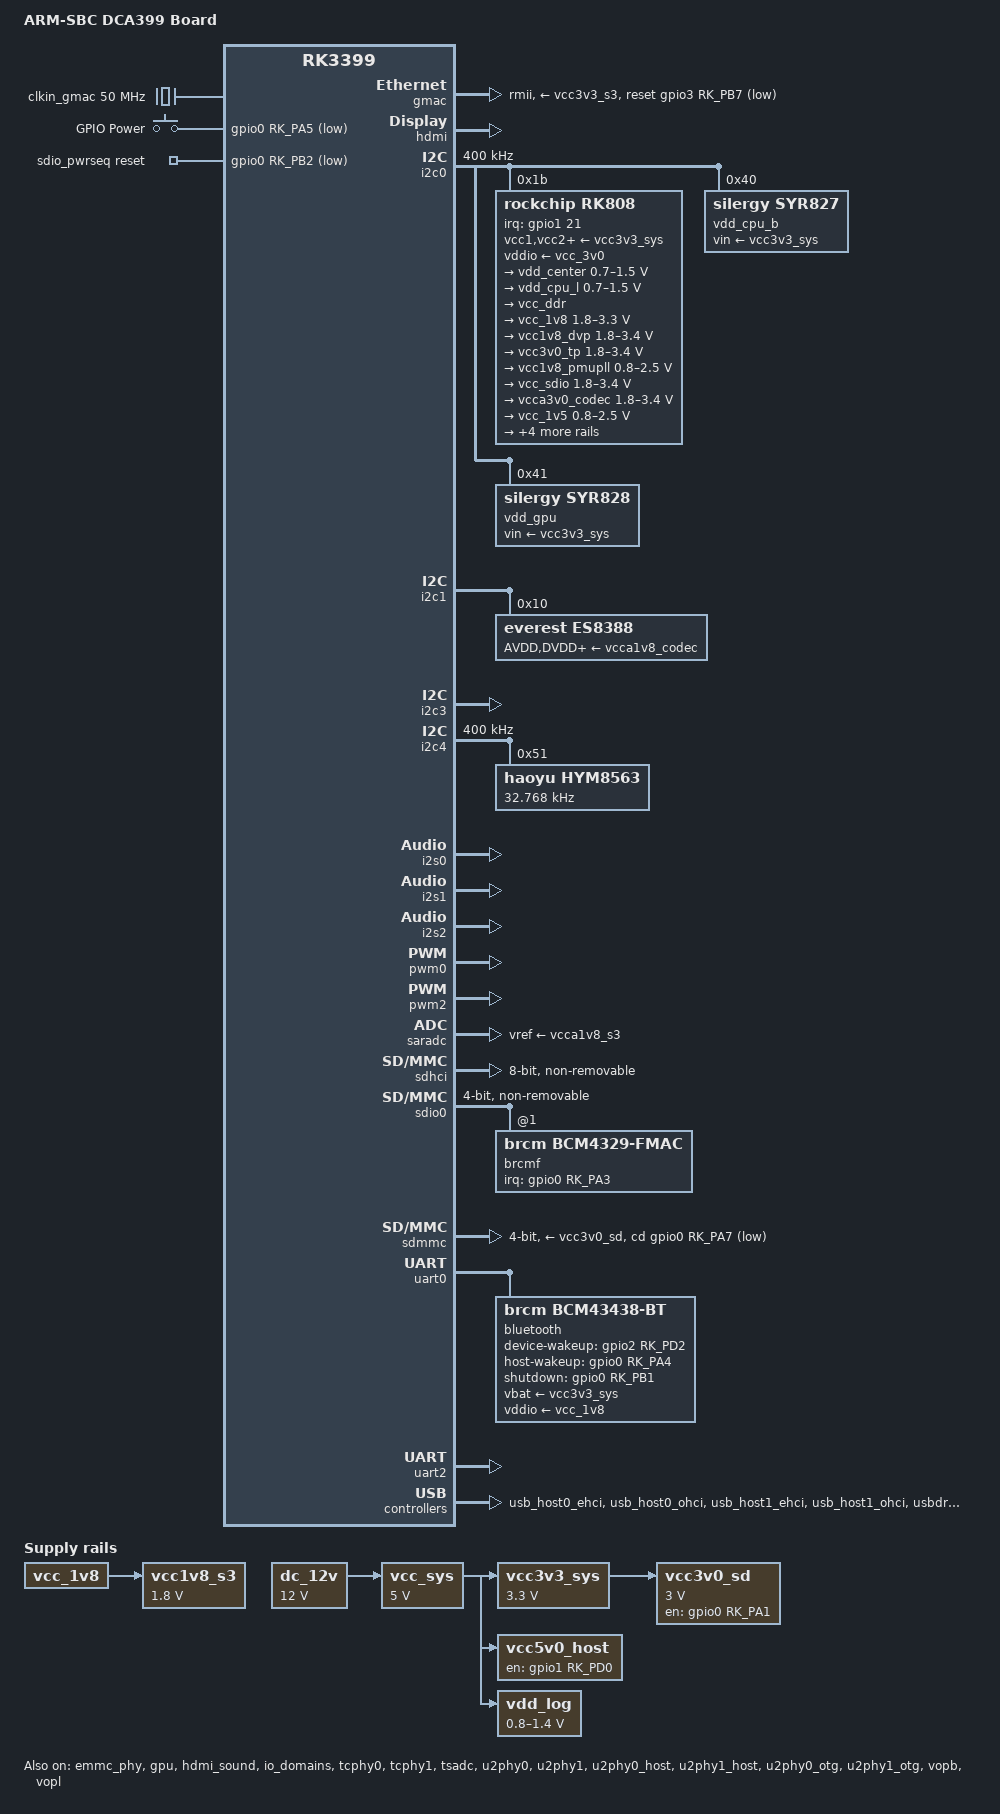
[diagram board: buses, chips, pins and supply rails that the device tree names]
// SPDX-License-Identifier: (GPL-2.0+ OR MIT)
/*
 */

/dts-v1/;

#include "dt-bindings/pwm/pwm.h"
#include "dt-bindings/input/input.h"
#include <dt-bindings/interrupt-controller/irq.h>
#include "dt-bindings/usb/pd.h"
#include "rk3399.dtsi"

/ {
	model = "ARM-SBC DCA399 Board";
	compatible = "rockchip,rk3399-arm-sbc", "rockchip,rk3399";

	aliases {
		ethernet0 = &gmac;
		mmc0 = &sdio0;
		mmc1 = &sdmmc;
		mmc2 = &sdhci;
	};

	chosen {
		stdout-path = "serial2:1500000n8";
	};

	clkin_gmac: external-gmac-clock {
		compatible = "fixed-clock";
		clock-frequency = <50000000>;
		clock-output-names = "clkin_gmac";
		#clock-cells = <0>;
	};

	dc_12v: dc-12v {
		compatible = "regulator-fixed";
		regulator-name = "dc_12v";
		regulator-always-on;
		regulator-boot-on;
		regulator-min-microvolt = <12000000>;
		regulator-max-microvolt = <12000000>;
	};

	keys: gpio-keys {
		compatible = "gpio-keys";
		autorepeat;

		key-power {
			debounce-interval = <100>;
			gpios = <&gpio0 RK_PA5 GPIO_ACTIVE_LOW>;
			label = "GPIO Power";
			linux,code = <KEY_POWER>;
			linux,input-type = <1>;
			pinctrl-names = "default";
			pinctrl-0 = <&pwr_btn>;
			wakeup-source;
		};
	};

	es8388-sound {
		compatible = "simple-audio-card";
		pinctrl-names = "default";
		simple-audio-card,name = "rockchip,es8388-codec";
		simple-audio-card,format = "i2s";
		simple-audio-card,mclk-fs = <256>;

		simple-audio-card,widgets =
			"Microphone", "Mic Jack",
			"Speaker", "Speaker";
		simple-audio-card,routing =
			"LINPUT1", "Mic Jack",
			"Speaker INL", "LOUT2",
			"Speaker INR", "ROUT2",
			"Speaker", "Speaker OUTL",
			"Speaker", "Speaker OUTR";

		simple-audio-card,cpu {
			sound-dai = <&i2s1>;
		};

		simple-audio-card,codec {
			sound-dai = <&es8388>;
		};
	};

	sdio_pwrseq: sdio-pwrseq {
		compatible = "mmc-pwrseq-simple";
		clocks = <&rk808 1>;
		clock-names = "ext_clock";
		pinctrl-names = "default";
		pinctrl-0 = <&wifi_reg_on_h>;
		reset-gpios = <&gpio0 RK_PB2 GPIO_ACTIVE_LOW>;
	};

	/* switched by pmic_sleep */
	vcc1v8_s3: vcca1v8_s3: vcc1v8-s3 {
		compatible = "regulator-fixed";
		regulator-name = "vcc1v8_s3";
		regulator-always-on;
		regulator-boot-on;
		regulator-min-microvolt = <1800000>;
		regulator-max-microvolt = <1800000>;
		vin-supply = <&vcc_1v8>;
	};

	vcc3v0_sd: vcc3v0-sd {
		compatible = "regulator-fixed";
		enable-active-high;
		gpio = <&gpio0 RK_PA1 GPIO_ACTIVE_HIGH>;
		pinctrl-names = "default";
		pinctrl-0 = <&sdmmc0_pwr_h>;
		regulator-boot-on;
		regulator-max-microvolt = <3000000>;
		regulator-min-microvolt = <3000000>;
		regulator-name = "vcc3v0_sd";
		vin-supply = <&vcc3v3_sys>;
	};

	vcc3v3_sys: vcc3v3-sys {
		compatible = "regulator-fixed";
		regulator-name = "vcc3v3_sys";
		regulator-always-on;
		regulator-boot-on;
		regulator-min-microvolt = <3300000>;
		regulator-max-microvolt = <3300000>;
		vin-supply = <&vcc_sys>;
	};

	vcc5v0_host: vcc5v0-host-regulator {
		compatible = "regulator-fixed";
		enable-active-high;
		gpio = <&gpio1 RK_PD0 GPIO_ACTIVE_HIGH>;
		pinctrl-names = "default";
		pinctrl-0 = <&vcc5v0_host_en>;
		regulator-name = "vcc5v0_host";
		regulator-always-on;
		vin-supply = <&vcc_sys>;
	};

	vcc_sys: vcc-sys {
		compatible = "regulator-fixed";
		regulator-name = "vcc_sys";
		regulator-always-on;
		regulator-boot-on;
		regulator-min-microvolt = <5000000>;
		regulator-max-microvolt = <5000000>;
		vin-supply = <&dc_12v>;
	};

	vdd_log: vdd-log {
		compatible = "pwm-regulator";
		pwms = <&pwm2 0 25000 1>;
		pwm-supply = <&vcc_sys>;
		regulator-name = "vdd_log";
		regulator-always-on;
		regulator-boot-on;
		regulator-min-microvolt = <800000>;
		regulator-max-microvolt = <1400000>;
	};
};

&cpu_l0 {
	cpu-supply = <&vdd_cpu_l>;
};

&cpu_l1 {
	cpu-supply = <&vdd_cpu_l>;
};

&cpu_l2 {
	cpu-supply = <&vdd_cpu_l>;
};

&cpu_l3 {
	cpu-supply = <&vdd_cpu_l>;
};

&cpu_b0 {
	cpu-supply = <&vdd_cpu_b>;
};

&cpu_b1 {
	cpu-supply = <&vdd_cpu_b>;
};

&emmc_phy {
	status = "okay";
};

&gmac {
	assigned-clocks = <&cru SCLK_RMII_SRC>;
	assigned-clock-parents = <&clkin_gmac>;
	clock_in_out = "input";
	phy-supply = <&vcc3v3_s3>;
	phy-mode = "rmii";
	pinctrl-names = "default";
	pinctrl-0 = <&rmii_pins>;
	snps,reset-gpio = <&gpio3 RK_PB7 GPIO_ACTIVE_LOW>;
	snps,reset-active-low;
	snps,reset-delays-us = <0 10000 50000>;
	tx_delay = <0x28>;
	rx_delay = <0x11>;
	status = "okay";
};

&gpu {
	mali-supply = <&vdd_gpu>;
	status = "okay";
};

&hdmi {
	ddc-i2c-bus = <&i2c3>;
	status = "okay";
};

&hdmi_sound {
	status = "okay";
};

&i2c0 {
	clock-frequency = <400000>;
	i2c-scl-rising-time-ns = <168>;
	i2c-scl-falling-time-ns = <4>;
	status = "okay";

	rk808: pmic@1b {
		compatible = "rockchip,rk808";
		reg = <0x1b>;
		interrupt-parent = <&gpio1>;
		interrupts = <21 IRQ_TYPE_LEVEL_LOW>;
		#clock-cells = <1>;
		clock-output-names = "rtc_clko_soc", "rtc_clko_wifi";
		pinctrl-names = "default";
		pinctrl-0 = <&pmic_int_l>;
		rockchip,system-power-controller;
		wakeup-source;

		vcc1-supply = <&vcc3v3_sys>;
		vcc2-supply = <&vcc3v3_sys>;
		vcc3-supply = <&vcc3v3_sys>;
		vcc4-supply = <&vcc3v3_sys>;
		vcc6-supply = <&vcc3v3_sys>;
		vcc7-supply = <&vcc3v3_sys>;
		vcc8-supply = <&vcc3v3_sys>;
		vcc9-supply = <&vcc3v3_sys>;
		vcc10-supply = <&vcc3v3_sys>;
		vcc11-supply = <&vcc3v3_sys>;
		vcc12-supply = <&vcc3v3_sys>;
		vddio-supply = <&vcc_3v0>;

		regulators {
			vdd_center: DCDC_REG1 {
				regulator-name = "vdd_center";
				regulator-always-on;
				regulator-boot-on;
				regulator-min-microvolt = <700000>;
				regulator-max-microvolt = <1500000>;
				regulator-ramp-delay = <6001>;
				regulator-state-mem {
					regulator-off-in-suspend;
				};
			};

			vdd_cpu_l: DCDC_REG2 {
				regulator-name = "vdd_cpu_l";
				regulator-always-on;
				regulator-boot-on;
				regulator-min-microvolt = <700000>;
				regulator-max-microvolt = <1500000>;
				regulator-ramp-delay = <6001>;
				regulator-state-mem {
					regulator-off-in-suspend;
				};
			};

			vcc_ddr: DCDC_REG3 {
				regulator-name = "vcc_ddr";
				regulator-always-on;
				regulator-boot-on;
				regulator-state-mem {
					regulator-on-in-suspend;
				};
			};

			vcc_1v8: DCDC_REG4 {
				regulator-name = "vcc_1v8";
				regulator-always-on;
				regulator-boot-on;
				regulator-min-microvolt = <1800000>;
				regulator-max-microvolt = <3300000>;
				regulator-state-mem {
					regulator-on-in-suspend;
					regulator-suspend-microvolt = <1800000>;
				};
			};

			vcc1v8_dvp: LDO_REG1 {
				regulator-name = "vcc1v8_dvp";
				regulator-always-on;
				regulator-boot-on;
				regulator-min-microvolt = <1800000>;
				regulator-max-microvolt = <3400000>;
				regulator-state-mem {
					regulator-off-in-suspend;
				};
			};

			vcc3v0_tp: LDO_REG2 {
				regulator-name = "vcc3v0_tp";
				regulator-always-on;
				regulator-boot-on;
				regulator-min-microvolt = <1800000>;
				regulator-max-microvolt = <3400000>;
				regulator-state-mem {
					regulator-off-in-suspend;
				};
			};

			vcc1v8_pmupll: LDO_REG3 {
				regulator-name = "vcc1v8_pmupll";
				regulator-always-on;
				regulator-boot-on;
				regulator-min-microvolt = <800000>;
				regulator-max-microvolt = <2500000>;
				regulator-state-mem {
					regulator-on-in-suspend;
					regulator-suspend-microvolt = <1800000>;
				};
			};

			vcc_sdio: LDO_REG4 {
				regulator-name = "vcc_sdio";
				regulator-always-on;
				regulator-boot-on;
				regulator-min-microvolt = <1800000>;
				regulator-max-microvolt = <3400000>;
				regulator-state-mem {
					regulator-on-in-suspend;
					regulator-suspend-microvolt = <3000000>;
				};
			};

			vcca3v0_codec: LDO_REG5 {
				regulator-name = "vcca3v0_codec";
				regulator-always-on;
				regulator-boot-on;
				regulator-min-microvolt = <1800000>;
				regulator-max-microvolt = <3400000>;
				regulator-state-mem {
					regulator-off-in-suspend;
				};
			};

			vcc_1v5: LDO_REG6 {
				regulator-name = "vcc_1v5";
				regulator-always-on;
				regulator-boot-on;
				regulator-min-microvolt = <800000>;
				regulator-max-microvolt = <2500000>;
				regulator-state-mem {
					regulator-on-in-suspend;
					regulator-suspend-microvolt = <1500000>;
				};
			};

			vcca1v8_codec: LDO_REG7 {
				regulator-name = "vcca1v8_codec";
				regulator-always-on;
				regulator-boot-on;
				regulator-min-microvolt = <800000>;
				regulator-max-microvolt = <2500000>;
				regulator-state-mem {
					regulator-off-in-suspend;
				};
			};

			vcc_3v0: LDO_REG8 {
				regulator-name = "vcc_3v0";
				regulator-always-on;
				regulator-boot-on;
				regulator-min-microvolt = <1800000>;
				regulator-max-microvolt = <3400000>;
				regulator-state-mem {
					regulator-on-in-suspend;
					regulator-suspend-microvolt = <3000000>;
				};
			};

			vcc3v3_s3: SWITCH_REG1 {
				regulator-name = "vcc3v3_s3";
				regulator-always-on;
				regulator-boot-on;
				regulator-state-mem {
					regulator-off-in-suspend;
				};
			};

			vcc3v3_s0: SWITCH_REG2 {
				regulator-name = "vcc3v3_s0";
				regulator-always-on;
				regulator-boot-on;
				regulator-state-mem {
					regulator-off-in-suspend;
				};
			};
		};
	};

	vdd_cpu_b: regulator@40 {
		compatible = "silergy,syr827";
		reg = <0x40>;
		fcs,suspend-voltage-selector = <1>;
		pinctrl-names = "default";
		pinctrl-0 = <&cpu_b_sleep>;
		regulator-name = "vdd_cpu_b";
		regulator-min-microvolt = <712500>;
		regulator-max-microvolt = <1500000>;
		regulator-ramp-delay = <1000>;
		regulator-always-on;
		regulator-boot-on;
		vin-supply = <&vcc3v3_sys>;

		regulator-state-mem {
			regulator-off-in-suspend;
		};
	};

	vdd_gpu: regulator@41 {
		compatible = "silergy,syr828";
		reg = <0x41>;
		fcs,suspend-voltage-selector = <1>;
		pinctrl-names = "default";
		pinctrl-0 = <&gpu_sleep>;
		regulator-name = "vdd_gpu";
		regulator-min-microvolt = <712500>;
		regulator-max-microvolt = <1500000>;
		regulator-ramp-delay = <1000>;
		regulator-always-on;
		regulator-boot-on;
		vin-supply = <&vcc3v3_sys>;

		regulator-state-mem {
			regulator-off-in-suspend;
		};
	};
};

&i2c1 {
	i2c-scl-rising-time-ns = <300>;
	i2c-scl-falling-time-ns = <15>;
	status = "okay";

	es8388: es8388@10 {
		status = "okay";
		#sound-dai-cells = <0>;
		compatible = "everest,es8388", "everest,es8328";
		reg = <0x10>;
		AVDD-supply = <&vcca1v8_codec>;
		DVDD-supply = <&vcca1v8_codec>;
		HPVDD-supply = <&vcca1v8_codec>;
		PVDD-supply = <&vcca1v8_codec>;
		clocks = <&cru SCLK_I2S_8CH_OUT>;
		clock-names = "mclk";
		pinctrl-names = "default";
	};
};

&i2c3 {
	i2c-scl-rising-time-ns = <450>;
	i2c-scl-falling-time-ns = <15>;
	status = "okay";
};

&i2c4 {
	clock-frequency = <400000>;
	i2c-scl-rising-time-ns = <600>;
	i2c-scl-falling-time-ns = <15>;
	status = "okay";

	hym8563: hym8563@51 {
		compatible = "haoyu,hym8563";
		reg = <0x51>;
		#clock-cells = <0>;
		clock-frequency = <32768>;
		clock-output-names = "xin32k";
	};
};

&i2s0 {
	status = "okay";
	rockchip,i2s-broken-burst-len;
	rockchip,playback-channels = <8>;
	rockchip,capture-channels = <8>;
	#sound-dai-cells = <0>;
};

&i2s1 {
	status = "okay";
	rockchip,i2s-broken-burst-len;
	rockchip,playback-channels = <8>;
	rockchip,capture-channels = <8>;
	#sound-dai-cells = <0>;
};

&i2s2 {
	#sound-dai-cells = <0>;
	status = "okay";
};

&io_domains {
	status = "okay";
	bt656-supply = <&vcc_3v0>;
	audio-supply = <&vcca1v8_codec>;
	sdmmc-supply = <&vcc_sdio>;
	gpio1830-supply = <&vcc_3v0>;
};

&pmu_io_domains {
	status = "okay";
	pmu1830-supply = <&vcc_3v0>;
};

&pinctrl {
	buttons {
		pwr_btn: pwr-btn {
			rockchip,pins = <0 RK_PA5 RK_FUNC_GPIO &pcfg_pull_up>;
		};
	};

	pmic {
		cpu_b_sleep: cpu-b-sleep {
			rockchip,pins = <1 RK_PC1 RK_FUNC_GPIO &pcfg_pull_down>;
		};

		gpu_sleep: gpu-sleep {
			rockchip,pins = <1 RK_PB6 RK_FUNC_GPIO &pcfg_pull_down>;
		};

		pmic_int_l: pmic-int-l {
			rockchip,pins =
				<1 RK_PC5 RK_FUNC_GPIO &pcfg_pull_up>;
		};
	};

	sd {
		sdmmc0_pwr_h: sdmmc0-pwr-h {
			rockchip,pins =
				<0 RK_PA1 RK_FUNC_GPIO &pcfg_pull_none>;
		};
	};

	usb2 {
		vcc5v0_host_en: vcc5v0-host-en {
			rockchip,pins =
				<4 RK_PD1 RK_FUNC_GPIO &pcfg_pull_none>;
		};

		vcc5v0_typec_en: vcc5v0-typec-en {
			rockchip,pins =
				<1 RK_PA3 RK_FUNC_GPIO &pcfg_pull_none>;
		};
	};

	sdio-pwrseq {
		wifi_reg_on_h: wifi-reg-on-h {
			rockchip,pins = <0 RK_PB2 RK_FUNC_GPIO &pcfg_pull_none>;
		};
	};

	wifi {
		wifi_host_wake_l: wifi-host-wake-l {
			rockchip,pins = <0 RK_PA3 RK_FUNC_GPIO &pcfg_pull_none>;
		};
	};

	bluetooth {
		bt_reg_on_h: bt-enable-h {
			rockchip,pins = <0 RK_PB1 RK_FUNC_GPIO &pcfg_pull_none>;
		};

		bt_host_wake_l: bt-host-wake-l {
			rockchip,pins = <0 RK_PA4 RK_FUNC_GPIO &pcfg_pull_none>;
		};

		bt_wake_l: bt-wake-l {
			rockchip,pins = <2 RK_PD2 RK_FUNC_GPIO &pcfg_pull_none>;
		};

		uart0_gpios: uart0-gpios {
			rockchip,pins = <2 RK_PC3 RK_FUNC_GPIO &pcfg_pull_none>;
		};
	};

};

&pwm0 {
	status = "okay";
};

&pwm2 {
	status = "okay";
};

&saradc {
	vref-supply = <&vcca1v8_s3>;
	status = "okay";
};

&sdhci {
	bus-width = <8>;
	mmc-hs400-1_8v;
	mmc-hs400-enhanced-strobe;
	non-removable;
	status = "okay";
};

&sdio0 {
	bus-width = <4>;
	cap-sd-highspeed;
	cap-sdio-irq;
	clock-frequency = <50000000>;
	disable-wp;
	keep-power-in-suspend;
	max-frequency = <50000000>;
	mmc-pwrseq = <&sdio_pwrseq>;
	non-removable;
	pinctrl-names = "default";
	pinctrl-0 = <&sdio0_bus4 &sdio0_cmd &sdio0_clk>;
	sd-uhs-sdr104;
	#address-cells = <1>;
	#size-cells = <0>;
	status = "okay";

	brcmf: wifi@1 {
		reg = <1>;
		compatible = "brcm,bcm4329-fmac";
		interrupt-parent = <&gpio0>;
		interrupts = <RK_PA3 IRQ_TYPE_LEVEL_HIGH>;
		interrupt-names = "host-wake";
		pinctrl-names = "default";
		pinctrl-0 = <&wifi_host_wake_l>;
	};
};

&sdmmc {
	bus-width = <4>;
	cap-mmc-highspeed;
	cap-sd-highspeed;
	cd-gpios = <&gpio0 RK_PA7 GPIO_ACTIVE_LOW>;
	clock-frequency = <150000000>;
	disable-wp;
	max-frequency = <150000000>;
	pinctrl-names = "default";
	pinctrl-0 = <&sdmmc_clk &sdmmc_cmd &sdmmc_cd &sdmmc_bus4>;
	vmmc-supply = <&vcc3v0_sd>;
	vqmmc-supply = <&vcc_sdio>;
	status = "okay";
};

&tcphy0 {
	status = "okay";
};

&tcphy1 {
	status = "okay";
};

&tsadc {
	rockchip,hw-tshut-mode = <1>;
	rockchip,hw-tshut-polarity = <1>;
	status = "okay";
};


&uart0 {
	pinctrl-names = "default";
	pinctrl-0 = <&uart0_rts>;
	pinctrl-1 = <&uart0_gpios>;
	status = "okay";

	bluetooth {
		compatible = "brcm,bcm43438-bt";
		clocks = <&rk808 1>;
		clock-names = "lpo";
		device-wakeup-gpios = <&gpio2 RK_PD2 GPIO_ACTIVE_HIGH>;
		host-wakeup-gpios = <&gpio0 RK_PA4 GPIO_ACTIVE_HIGH>;
		shutdown-gpios = <&gpio0 RK_PB1 GPIO_ACTIVE_HIGH>;
		pinctrl-names = "default";
		pinctrl-0 = <&bt_host_wake_l &bt_wake_l &bt_reg_on_h>;
		vbat-supply = <&vcc3v3_sys>;
		vddio-supply = <&vcc_1v8>;
	};
};


&uart2 {
	status = "okay";
};

&tcphy0 {
	status = "okay";
};

&tcphy1 {
	status = "okay";
};

&u2phy0 {
	status = "okay";
};

&u2phy1 {
	status = "okay";
};

&u2phy0_host {
	phy-supply = <&vcc5v0_host>;
	status = "okay";
};

&u2phy1_host {
	phy-supply = <&vcc5v0_host>;
	status = "okay";
};

&u2phy0_otg {
	status = "okay";
};

&u2phy1_otg {
	status = "okay";
};

&usb_host0_ehci {
	status = "okay";
};

&usb_host0_ohci {
	status = "okay";
};

&usb_host1_ehci {
	status = "okay";
};

&usb_host1_ohci {
	status = "okay";
};

&usbdrd3_0 {
	status = "okay";
};

&usbdrd_dwc3_0 {
	status = "okay";
};

&usbdrd3_1 {
	status = "okay";
};

&usbdrd_dwc3_1 {
	status = "okay";
};

&vopb {
	status = "okay";
};

&vopb_mmu {
	status = "okay";
};

&vopl {
	status = "okay";
};

&vopl_mmu {
	status = "okay";
};
